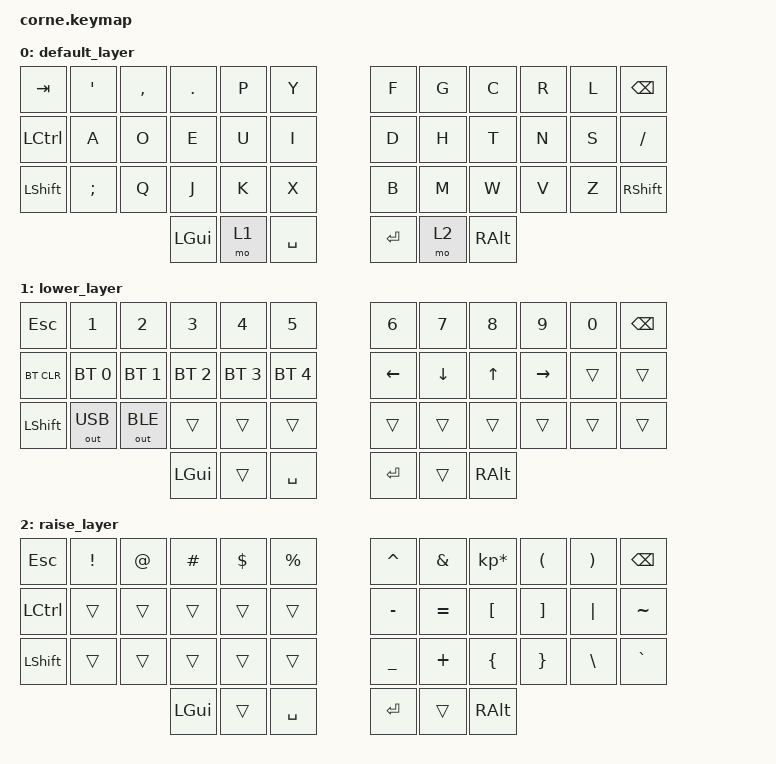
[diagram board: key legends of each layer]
/*
 * Copyright (c) 2020 The ZMK Contributors
 *
 * SPDX-License-Identifier: MIT
 */

#include <behaviors.dtsi>
#include <dt-bindings/zmk/keys.h>
#include <dt-bindings/zmk/bt.h>
#include <dt-bindings/zmk/outputs.h>

/ {
        keymap {
                compatible = "zmk,keymap";

                default_layer {
// -----------------------------------------------------------------------------------------
// |  TAB |  Q  |  W  |  E  |  R  |  T  |   |  Y  |  U   |  I  |  O  |  P  | BKSP |
// | CTRL |  A  |  S  |  D  |  F  |  G  |   |  H  |  J   |  K  |  L  |  ;  |  '   |
// | SHFT |  Z  |  X  |  C  |  V  |  B  |   |  N  |  M   |  ,  |  .  |  /  | SHFT |
//                    | GUI | LWR | SPC |   | ENT | RSE  | ALT |
                        bindings = <
   &kp TAB   &kp SQT  &kp COMMA &kp DOT &kp P &kp Y   &kp F &kp G  &kp C &kp R &kp L &kp BSPC
   &kp LCTRL &kp A    &kp O     &kp E   &kp U &kp I   &kp D &kp H  &kp T &kp N &kp S &kp FSLH
   &kp LSHFT &kp SEMI &kp Q     &kp J   &kp K &kp X   &kp B &kp M  &kp W &kp V &kp Z &kp RSHFT
                  &kp LGUI &mo 1 &kp SPACE   &kp RET &mo 2 &kp RALT
                        >;
                };
                lower_layer {
// -----------------------------------------------------------------------------------------
// |  ESC |  1  |  2  |  3  |  4  |  5  |   |  6  |  7  |  8  |  9  |  0  | BKSP |
// | BTCLR| BT1 | BT2 | BT3 | BT4 | BT5 |   | LFT | DWN |  UP | RGT |     |      |
// | SHFT | USB | BLE |     |     |     |   |     |     |     |     |     |      |
//                    | GUI |     | SPC |   | ENT |     | ALT |
                        bindings = <
   &kp ESC    &kp N1       &kp N2       &kp N3       &kp N4       &kp N5            &kp N6   &kp N7   &kp N8 &kp N9    &kp N0 &kp BSPC
   &bt BT_CLR &bt BT_SEL 0 &bt BT_SEL 1 &bt BT_SEL 2 &bt BT_SEL 3 &bt BT_SEL 4      &kp LEFT &kp DOWN &kp UP &kp RIGHT &trans &trans
   &kp LSHFT  &out OUT_USB &out OUT_BLE &trans       &trans       &trans            &trans   &trans   &trans &trans    &trans &trans
                                        &kp LGUI     &trans       &kp SPACE         &kp RET &trans &kp RALT
                        >;
                };

                raise_layer {
// -----------------------------------------------------------------------------------------
// |  ESC |  !  |  @  |  #  |  $  |  %  |   |  ^  |  &  |  *  |  (  |  )  | BKSP |
// | CTRL |     |     |     |     |     |   |  -  |  =  |  [  |  ]  |  \  |  ~   |
// | SHFT |     |     |     |     |     |   |  _  |  +  |  {  |  }  | "|" |  `   |
//                    | GUI |     | SPC |   | ENT |     | ALT |
                        bindings = <
   &kp  ESC  &kp EXCL  &kp AT  &kp HASH  &kp DLLR  &kp PRCNT   &kp CARET &kp AMPS  &kp KP_MULTIPLY &kp LPAR &kp RPAR &kp BSPC
   &kp LCTRL &trans    &trans  &trans    &trans    &trans      &kp MINUS &kp EQUAL &kp LBKT        &kp RBKT &kp PIPE &kp TILDE
   &kp LSHFT &trans    &trans  &trans    &trans    &trans      &kp UNDER &kp PLUS  &kp LBRC        &kp RBRC &kp BSLH &kp GRAVE
                                   &kp LGUI &trans &kp SPACE   &kp RET &trans &kp RALT
                        >;
                };
        };
};
